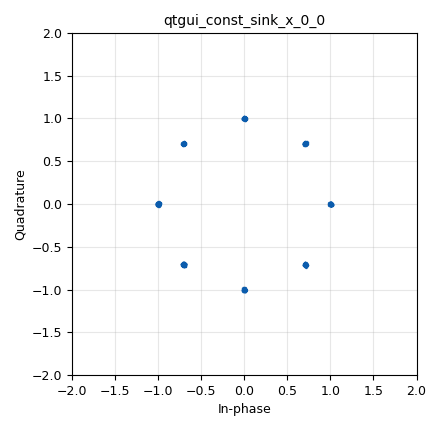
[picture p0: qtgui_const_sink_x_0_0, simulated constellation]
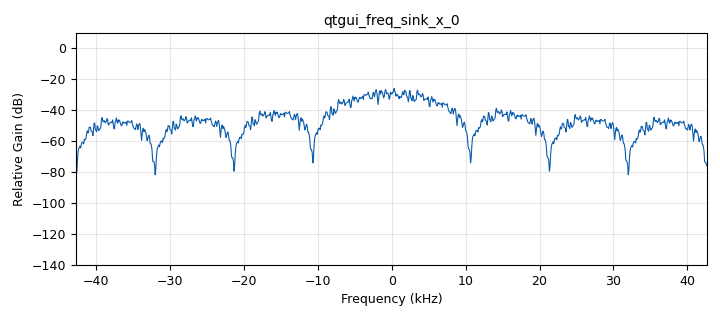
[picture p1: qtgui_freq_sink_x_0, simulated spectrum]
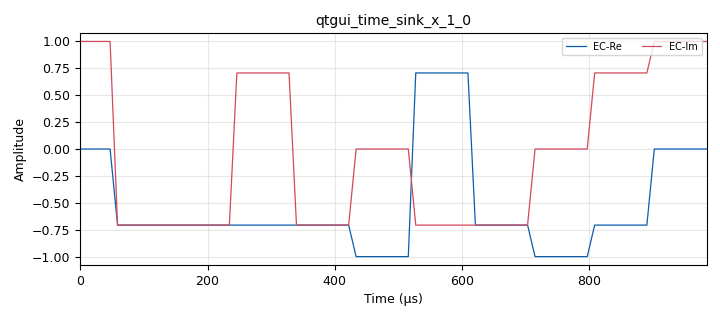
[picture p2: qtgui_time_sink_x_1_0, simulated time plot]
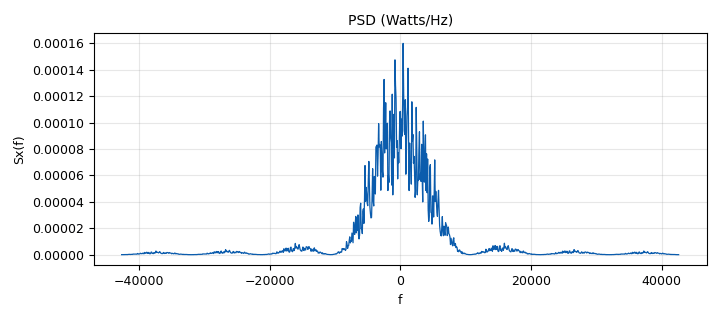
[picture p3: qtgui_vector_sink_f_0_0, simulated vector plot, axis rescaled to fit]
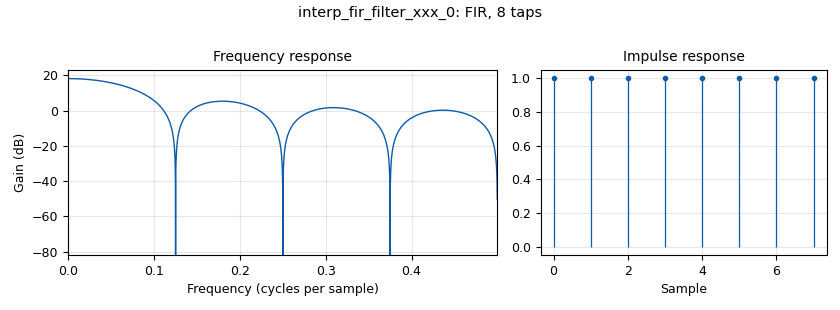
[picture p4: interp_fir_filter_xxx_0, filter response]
options:
  parameters:
    generate_options: qt_gui
    id: Practica_4
    output_language: python
    title: Not titled yet
  states: {}

blocks:
- name: Constelacion
  id: variable
  parameters:
    value: (-0.77-0.77j,-1+0j,-0.77+0.77j,0+1j,0.77+0.77j,1+0j,0.77-0.77j,0-1j)
  states: {}
- name: Constelacion_0
  id: variable
  parameters:
    value: (-1+0j,0+1j,1+0j,0-1j)
  states: {}
- name: M
  id: variable
  parameters:
    value: '8'
  states: {}
- name: N
  id: variable
  parameters:
    value: '1024'
  states: {}
- name: Nbps
  id: variable
  parameters:
    value: int(math.log(M,2))
  states: {}
- name: Rb
  id: variable
  parameters:
    value: '32000'
  states: {}
- name: Rs
  id: variable
  parameters:
    value: Rb/Nbps
  states: {}
- name: h
  id: variable
  parameters:
    value: (1,1,1,1,1,1,1,1)
  states: {}
- name: samp_rate
  id: variable
  parameters:
    value: Rs*sps
  states: {}
- name: sps
  id: variable
  parameters:
    value: len(h)
  states: {}
- name: analog_const_source_x_0
  id: analog_const_source_x
  parameters:
    const: '1'
    type: float
  states: {}
- name: analog_noise_source_x_0
  id: analog_noise_source_x
  parameters:
    amp: '0.01'
    noise_type: analog.GR_GAUSSIAN
    seed: '0'
    type: complex
  states: {}
- name: analog_random_source_x_0
  id: analog_random_source_x
  parameters:
    max: M
    min: '0'
    num_samps: '1000'
    repeat: 'True'
    type: byte
  states: {}
- name: blocks_add_xx_0
  id: blocks_add_xx
  parameters:
    type: complex
  states: {}
- name: blocks_char_to_float_0
  id: blocks_char_to_float
  parameters:
    scale: '1'
  states: {state: disabled}
- name: blocks_char_to_float_0_0
  id: blocks_char_to_float
  parameters:
    scale: '1'
  states: {state: disabled}
- name: blocks_char_to_float_0_0_0
  id: blocks_char_to_float
  parameters:
    scale: '1'
  states: {}
- name: blocks_complex_to_mag_squared_0
  id: blocks_complex_to_mag_squared
  parameters:
    vlen: N
  states: {}
- name: blocks_multiply_const_vxx_0
  id: blocks_multiply_const_vxx
  parameters:
    const: 2*math.pi/M
    type: float
  states: {}
- name: blocks_multiply_const_vxx_1
  id: blocks_multiply_const_vxx
  parameters:
    const: '[1/(N*samp_rate)]*N'
    type: float
    vlen: N
  states: {}
- name: blocks_null_sink_0
  id: blocks_null_sink
  parameters:
    type: complex
  states: {}
- name: blocks_repack_bits_bb_0
  id: blocks_repack_bits_bb
  parameters:
    endianness: gr.GR_LSB_FIRST
    k: '1'
    l: Nbps
  states: {}
- name: blocks_stream_to_vector_0
  id: blocks_stream_to_vector
  parameters:
    num_items: N
    type: complex
  states: {}
- name: blocks_vector_source_x_0
  id: blocks_vector_source_x
  parameters:
    repeat: 'True'
    type: int
    vector: (0,0)
  states: {state: disabled}
- name: digital_chunks_to_symbols_xx_0
  id: digital_chunks_to_symbols_xx
  parameters:
    dimension: '1'
    in_type: int
    out_type: complex
    symbol_table: Constelacion
  states: {state: disabled}
- name: epy_block_0
  id: epy_block
  parameters:
    N: N
    _source_code: |
      import numpy as np
      from gnuradio import gr


      class blk(gr.sync_block):  
          """vector averager. N is the lengh of the vector"""

          def __init__(self, N=1024):
              gr.sync_block.__init__(
                  self,
                  name='e_vec_averager_ff',   
                  in_sig=[(np.float32,N)],
                  out_sig=[(np.float32,N)]
              )
              self.N = N
              self.rows_counter=0
              self.sum=0

          def work(self, input_items, output_items):
              x=input_items[0]
              y=output_items[0]
              self.sum += np.sum(x, axis=0)
              self.rows_counter += len(x)
              y[:]=self.sum/self.rows_counter
              return len(output_items[0])
  states: {}
- name: epy_block_0_0
  id: epy_block
  parameters:
    _source_code: |
      import numpy as np
      from gnuradio import gr
      import math

      class blk(gr.sync_block):  
          """This block is a CE VCO or baseband VCO and works as following: ….."""

          def __init__(self,):  
              gr.sync_block.__init__(
                  self,
                  name='e_CE_VCO_fc',   
                  in_sig=[np.float32, np.float32],
                  out_sig=[np.complex64]
              )
              
          def work(self, input_items, output_items):
              Q=input_items[0]
              A=input_items[1]
              y=output_items[0]
              N=len(A)
              y[:]=A*np.exp(1j*Q)
              return len(output_items[0])
  states: {}
- name: fft_vxx_0_0
  id: fft_vxx
  parameters:
    fft_size: N
    forward: 'True'
    shift: 'True'
    type: complex
    window: '[1]*N'
  states: {}
- name: import_0
  id: import
  parameters:
    imports: import math
  states: {}
- name: interp_fir_filter_xxx_0
  id: interp_fir_filter_xxx
  parameters:
    interp: sps
    taps: h
    type: ccf
  states: {}
- name: qtgui_const_sink_x_0
  id: qtgui_const_sink_x
  parameters:
    size: '1024'
    type: complex
  states: {state: disabled}
- name: qtgui_const_sink_x_0_0
  id: qtgui_const_sink_x
  parameters:
    size: '1024'
    type: complex
  states: {}
- name: qtgui_freq_sink_x_0
  id: qtgui_freq_sink_x
  parameters:
    average: '0.05'
    bw: samp_rate
    fc: '0'
    fftsize: '1024'
    type: complex
  states: {}
- name: qtgui_time_sink_x_0
  id: qtgui_time_sink_x
  parameters:
    label1: M-PAM
    marker1: '0'
    size: '32'
    srate: samp_rate
    stemplot: 'True'
    type: float
    width1: '3'
  states: {state: disabled}
- name: qtgui_time_sink_x_0_0
  id: qtgui_time_sink_x
  parameters:
    label1: M-PAM-MOD
    marker1: '0'
    size: int(32/Nbps)
    srate: Rs
    stemplot: 'True'
    type: float
    width1: '3'
  states: {state: disabled}
- name: qtgui_time_sink_x_0_0_0
  id: qtgui_time_sink_x
  parameters:
    label1: Binary
    marker1: '0'
    size: int(32/Nbps)
    srate: Rs
    stemplot: 'True'
    type: float
    width1: '3'
  states: {state: disabled}
- name: qtgui_time_sink_x_1
  id: qtgui_time_sink_x
  parameters:
    label1: EC-Re
    label2: EC-Im
    marker1: '0'
    marker2: '0'
    size: int(32/Nbps)
    srate: Rs
    stemplot: 'True'
    type: complex
    width1: '3'
    width2: '3'
  states: {state: disabled}
- name: qtgui_time_sink_x_1_0
  id: qtgui_time_sink_x
  parameters:
    label1: EC-Re
    label2: EC-Im
    size: int(32*sps/Nbps)
    srate: samp_rate
    type: complex
    width1: '3'
    width2: '3'
  states: {}
- name: qtgui_vector_sink_f_0_0
  id: qtgui_vector_sink_f
  parameters:
    label1: PSD
    name: '"PSD (Watts/Hz)"'
    vlen: N
    x_axis_label: '"f"'
    x_start: '-samp_rate/2'
    x_step: samp_rate/N
    x_units: '"Hz"'
    y_axis_label: '"Sx(f)"'
    y_units: '"Watss/Hz"'
    ymax: 1/Rb
    ymin: '0'
  states: {}

connections:
- [analog_const_source_x_0, '0', epy_block_0_0, '1']
- [analog_noise_source_x_0, '0', blocks_add_xx_0, '0']
- [analog_random_source_x_0, '0', blocks_char_to_float_0, '0']
- [analog_random_source_x_0, '0', blocks_repack_bits_bb_0, '0']
- [analog_random_source_x_0, '0', digital_chunks_to_symbols_xx_0, '0']
- [blocks_add_xx_0, '0', blocks_null_sink_0, '0']
- [blocks_add_xx_0, '0', qtgui_const_sink_x_0_0, '0']
- [blocks_char_to_float_0, '0', qtgui_time_sink_x_0, '0']
- [blocks_char_to_float_0_0, '0', qtgui_time_sink_x_0_0, '0']
- [blocks_char_to_float_0_0_0, '0', blocks_multiply_const_vxx_0, '0']
- [blocks_complex_to_mag_squared_0, '0', epy_block_0, '0']
- [blocks_multiply_const_vxx_0, '0', epy_block_0_0, '0']
- [blocks_multiply_const_vxx_0, '0', qtgui_time_sink_x_0_0_0, '0']
- [blocks_multiply_const_vxx_1, '0', qtgui_vector_sink_f_0_0, '0']
- [blocks_repack_bits_bb_0, '0', blocks_char_to_float_0_0, '0']
- [blocks_repack_bits_bb_0, '0', blocks_char_to_float_0_0_0, '0']
- [blocks_repack_bits_bb_0, '0', digital_chunks_to_symbols_xx_0, '0']
- [blocks_stream_to_vector_0, '0', fft_vxx_0_0, '0']
- [blocks_vector_source_x_0, '0', digital_chunks_to_symbols_xx_0, '0']
- [digital_chunks_to_symbols_xx_0, '0', interp_fir_filter_xxx_0, '0']
- [epy_block_0, '0', blocks_multiply_const_vxx_1, '0']
- [epy_block_0_0, '0', interp_fir_filter_xxx_0, '0']
- [epy_block_0_0, '0', qtgui_const_sink_x_0, '0']
- [epy_block_0_0, '0', qtgui_time_sink_x_1, '0']
- [fft_vxx_0_0, '0', blocks_complex_to_mag_squared_0, '0']
- [interp_fir_filter_xxx_0, '0', blocks_add_xx_0, '1']
- [interp_fir_filter_xxx_0, '0', blocks_stream_to_vector_0, '0']
- [interp_fir_filter_xxx_0, '0', qtgui_freq_sink_x_0, '0']
- [interp_fir_filter_xxx_0, '0', qtgui_time_sink_x_1_0, '0']

metadata:
  file_format: 1
  grc_version: 3.10.12.0
